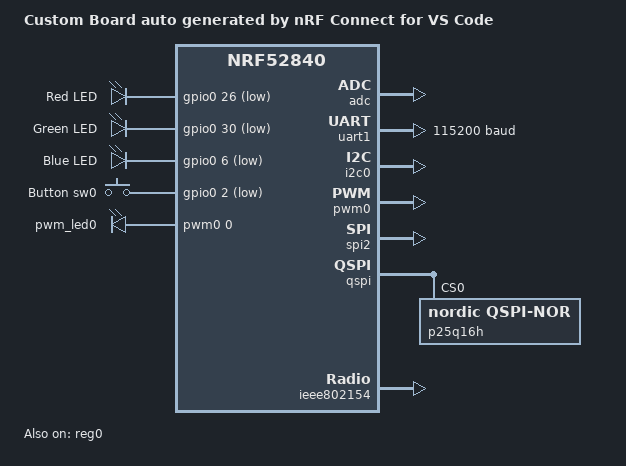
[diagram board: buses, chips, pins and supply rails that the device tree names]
/dts-v1/;
#include <nordic/nrf52840_qiaa.dtsi>
#include "CustomSeeedNRF52840-pinctrl.dtsi"

/ {
	model = "Custom Board auto generated by nRF Connect for VS Code";
	compatible = "CobaltDesign,CALI-P01-LB-nRF52840";

	chosen {
		zephyr,sram = &sram0;
		zephyr,flash = &flash0;
		zephyr,code-partition = &slot0_partition;
	};

	leds {
			compatible = "gpio-leds";
			led0: led_0 {
				gpios = <&gpio0 26 GPIO_ACTIVE_LOW>;
				label = "Red LED";
			};
			led1: led_1 {
				gpios = <&gpio0 30 GPIO_ACTIVE_LOW>;
				label = "Green LED";
			};
			led2: led_2 {
				gpios = <&gpio0 6 GPIO_ACTIVE_LOW>;
				label = "Blue LED";
			};
	};

	gpio_keys {
		compatible = "gpio-keys";
		sw0: button_0 {
				gpios = <&gpio0 2 GPIO_ACTIVE_LOW>;
				label = "Button sw0";
		};
	};	

	pwmleds {
			compatible = "pwm-leds";
			pwm_led0: pwm_led_0 {
				pwms = <&pwm0 0 PWM_MSEC(20) PWM_POLARITY_INVERTED>;
			};
	};

	/* These aliases are provided for compatibility with samples */
	aliases {
		led0 = &led0;
		led1 = &led1;
		led2 = &led2;
		sw0 = &sw0;
		pwm-led0 = &pwm_led0;
		bootloader-led0 = &led0;
		mcuboot-led0 = &led0;
		watchdog0 = &wdt0;
	};
};

&reg0 {
	status = "okay";
};

&reg1 {
	regulator-initial-mode = <NRF5X_REG_MODE_DCDC>;
};

&adc {
	status = "okay";
};

&uicr {
	gpio-as-nreset;
};

&gpiote {
	status = "okay";
};

&gpio0 {
	status = "okay";
};

&gpio1 {
	status = "okay";
};

&uart1 {
	compatible = "nordic,nrf-uarte";
	status = "okay";
	current-speed = <115200>;
	pinctrl-0 = <&uart1_default>;
	pinctrl-1 = <&uart1_sleep>;
	pinctrl-names = "default", "sleep";
};

&i2c0 {
	compatible = "nordic,nrf-twi";
	/* Cannot be used together with spi1. */
	status = "okay";
	pinctrl-0 = <&i2c0_default>;
	pinctrl-1 = <&i2c0_sleep>;
	pinctrl-names = "default", "sleep";
};

&pwm0 {
	status = "okay";
	pinctrl-0 = <&pwm0_default>;
	pinctrl-1 = <&pwm0_sleep>;
	pinctrl-names = "default", "sleep";
};

&spi2 {
	compatible = "nordic,nrf-spi";
	status = "okay";
	pinctrl-0 = <&spi2_default>;
	pinctrl-1 = <&spi2_sleep>;
	pinctrl-names = "default", "sleep";
};

&qspi {
	status = "okay";
	pinctrl-0 = <&qspi_default>;
	pinctrl-1 = <&qspi_sleep>;
	pinctrl-names = "default", "sleep";
	p25q16h: p25q16h@0 {
		compatible = "nordic,qspi-nor";
		reg = <0>;
		sck-frequency = <104000000>;
		quad-enable-requirements = "S2B1v1";
		jedec-id = [85 60 15];
		sfdp-bfp = [
			e5 20 f1 ff  ff ff ff 00  44 eb 08 6b  08 3b 80 bb
			ee ff ff ff  ff ff 00 ff  ff ff 00 ff  0c 20 0f 52
			10 d8 08 81
		];
		size = <16777216>;
		has-dpd;
		t-enter-dpd = <3000>;
		t-exit-dpd = <8000>;
	};
};

&ieee802154 {
	status = "okay";
};


&flash0 {
	partitions {
		compatible = "fixed-partitions";
		#address-cells = <1>;
		#size-cells = <1>;

		boot_partition: partition@0 {
			label = "mcuboot";
			reg = <0x00000000 DT_SIZE_K(48)>;
		};

		slot0_partition: partition@c000 {
			label = "image-0";
			reg = <0x0000c000 DT_SIZE_K(472)>;
		};

		slot1_partition: partition@82000 {
			label = "image-1";
			reg = <0x00082000 DT_SIZE_K(472)>;
		};

		storage_partition: partition@f8000 {
			label = "storage";
			reg = <0x000f8000 DT_SIZE_K(32)>;
		};
	};
};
